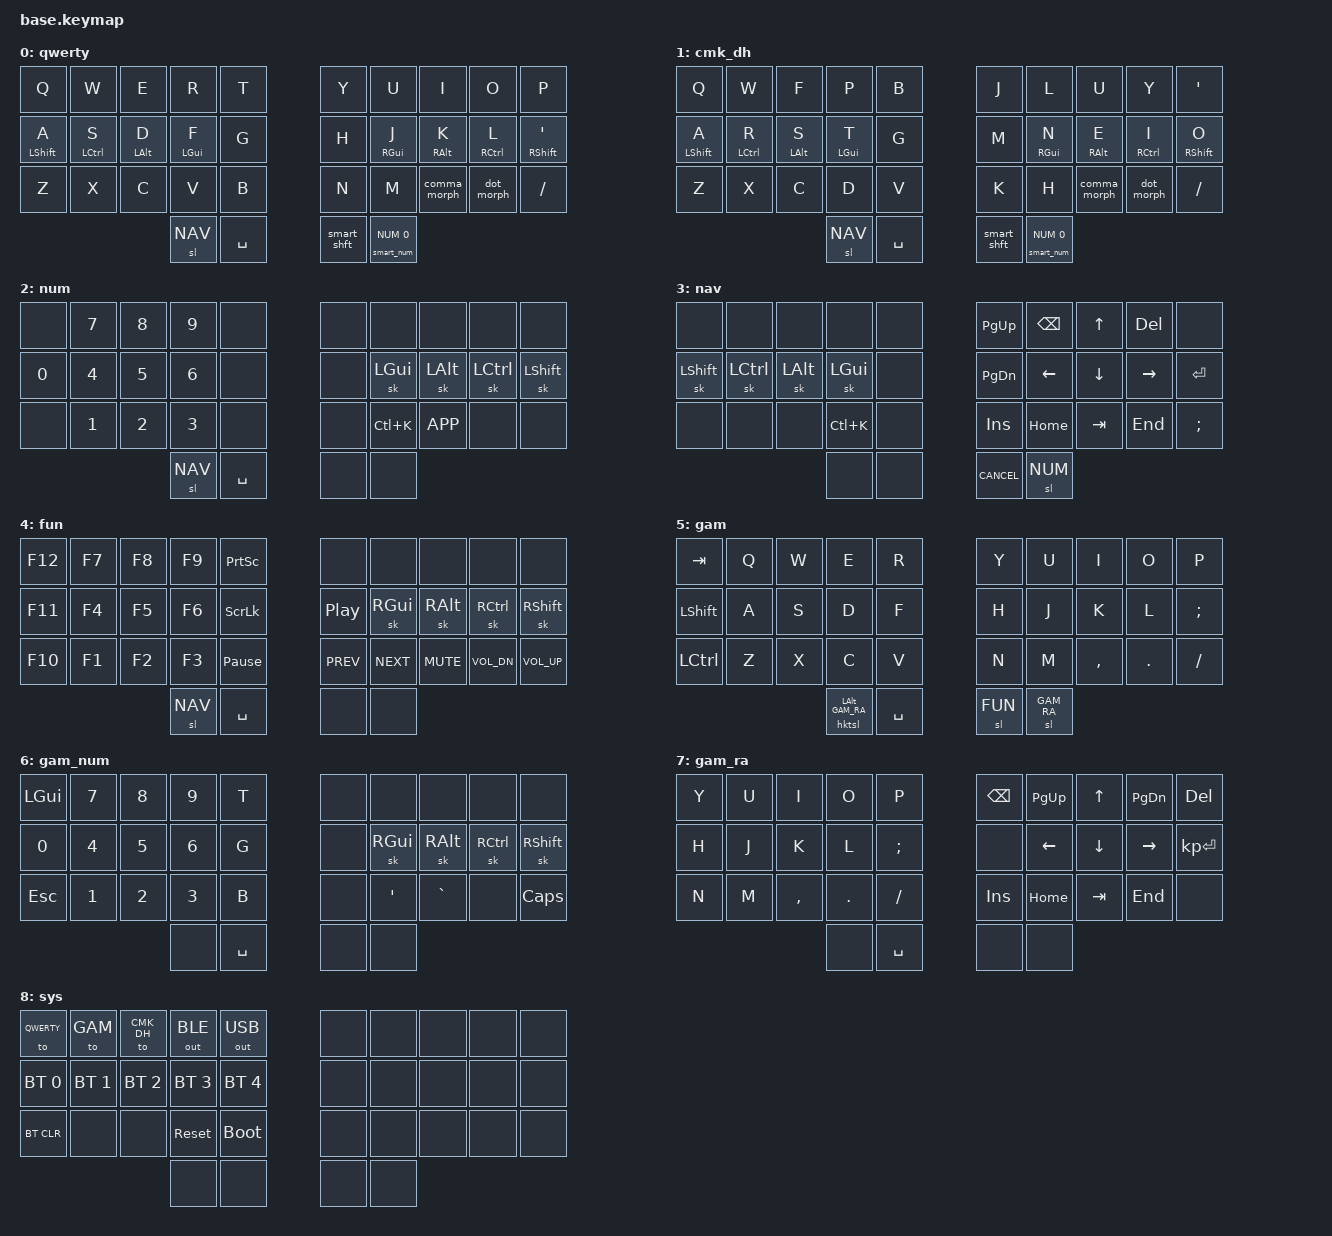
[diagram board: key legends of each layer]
#include <behaviors.dtsi>
#include <behaviors/num_word.dtsi> // Requires zmk-auto-layer module.
#include <behaviors/unicode.dtsi> // Requires zmk-unicode module.
#include <zmk-helpers/helper.h> // Requires zmk-helpers module.
#include <dt-bindings/zmk/keys.h>
#ifdef CONFIG_WIRELESS
  #include <dt-bindings/zmk/bt.h>
  #include <dt-bindings/zmk/outputs.h>
  #define _BT_SEL_KEYS_                                                        \
      &bt BT_SEL 0 &bt BT_SEL 1 &bt BT_SEL 2 &bt BT_SEL 3 &bt BT_CLR
#else
  #define _BT_SEL_KEYS_ &none &none &none &none &none
#endif

// Layers
// MAIN
#define QWERTY 0
#define CMK_DH 1
#define NUM 2
#define NAV 3
#define FUN 4

// GAMING
#define GAM 5
#define GAM_NUM 6
#define GAM_RA 7

// UTILITIES (highest so it overlays everything)
#define SYS 8

#define XXX &none
#define ___ &trans

/* Global defaults */

#define QUICK_TAP_MS 175

&sk {
    release-after-ms = <250>; // Needs to be long enough for one handed modifiers. Short enough to allow mouse zooming and mitigage alt tab conflicts.
    quick-release;
};

// Important because errors without sticky layer are punishing and cause unconfident typing. e.g. a fast layer + enter roll
&sl {
    release-after-ms = <250>; // Can be shorter than &sk.
    // TODO: need to remove following?
    ignore-modifiers;          // allow chording sticky mods & layers
};

&lt {
  flavor = "balanced";
  tapping-term-ms = <200>;
  quick-tap-ms = <QUICK_TAP_MS>;
};

/* Homerow mods */

#define KEYS_L LT0 LT1 LT2 LT3 LT4 LM0 LM1 LM2 LM3 LM4 LB0 LB1 LB2 LB3 LB4
#define KEYS_R RT0 RT1 RT2 RT3 RT4 RM0 RM1 RM2 RM3 RM4 RB0 RB1 RB2 RB3 RB4
#ifndef LH2
  #define THUMBS LH1 LH0 RH0 RH1         // Thumbs on 34 keys.
#else
  #define THUMBS LH2 LH1 LH0 RH0 RH1 RH2 // Thumbs on 36+ keys.
#endif

// Personal includes (must be after used definitions)
#include "includes/combos_main.dtsi"   // main typing layers combos
#include "includes/combos_gaming.dtsi" // gaming layer combos

#define MAKE_HRM(NAME, HOLD, TAP, TRIGGER_POS)                                 \
  ZMK_HOLD_TAP(NAME, bindings = <HOLD>, <TAP>; flavor = "balanced";            \
               tapping-term-ms = <280>; quick-tap-ms = <QUICK_TAP_MS>;         \
               require-prior-idle-ms = <150>; hold-trigger-on-release;         \
               hold-trigger-key-positions = <TRIGGER_POS>;)

MAKE_HRM(hml, &kp, &kp, KEYS_R THUMBS) // Left-hand HRMs.
MAKE_HRM(hmr, &kp, &kp, KEYS_L THUMBS) // Right-hand HRMs.

// Shift alone gives typing punctuation. Shortcut modifiers bypass the morph
// and preserve the ordinary comma/dot keycode, including any held Shift.
#define PUNCT_SHORTCUT_MODS (MOD_LCTL|MOD_RCTL|MOD_LALT|MOD_RALT|MOD_LGUI|MOD_RGUI)

ZMK_BEHAVIOR(comma_shift, mod_morph,
    mods = <(MOD_LSFT|MOD_RSFT)>;
    bindings = <&kp COMMA>, <&kp SEMICOLON>;
)

ZMK_BEHAVIOR(dot_shift, mod_morph,
    bindings = <&kp DOT>, <&kp COLON>;
    mods = <(MOD_LSFT|MOD_RSFT)>;
)

ZMK_BEHAVIOR(comma_morph, mod_morph,
    bindings = <&comma_shift>, <&kp COMMA>;
    mods = <PUNCT_SHORTCUT_MODS>;
    keep-mods = <PUNCT_SHORTCUT_MODS>;
)

ZMK_BEHAVIOR(dot_morph, mod_morph,
    bindings = <&dot_shift>, <&kp DOT>;
    mods = <PUNCT_SHORTCUT_MODS>;
    keep-mods = <PUNCT_SHORTCUT_MODS>;
)

/* Caps-word, num-word and smart-mouse */

// tap: sticky-shift | shift + tap/ double-tap: caps-word | hold: shift
ZMK_BEHAVIOR(smart_shft, mod_morph,
    bindings = <&sk LSHFT>, <&caps_word>;
    mods = <(MOD_LSFT)>;
)

&caps_word {  // mods deactivate caps-word, requires PR #1441
    /delete-property/ ignore-modifiers;
};

// Tap: num-word | double-tap: sticky num-layer | Hold: num-layer.
#define SMART_NUM &smart_num NUM 0
ZMK_HOLD_TAP(smart_num,
    bindings = <&mo>, <&num_dance>;
    flavor = "balanced";
    tapping-term-ms = <200>;
    quick-tap-ms = <QUICK_TAP_MS>;
)
ZMK_TAP_DANCE(num_dance,
    bindings = <&num_word NUM>, <&sl NUM>;
    // reverse this for sticky-num on single tap
    tapping-term-ms = <200>;
)

// // TODO: maybe add semi colon to continue list.
// &num_word {
//     continue-list = <BSPC DEL DOT COMMA PLUS MINUS STAR FSLH EQUAL LSHIFT COLON>;
// };

// // This is ambiguous because it gits rid of the benefit of a quick roll with sticky key and enter. It can accidentily produce a letter.
// ZMK_HOLD_TAP(hsltk,
//     bindings = <&sl>, <&kp>;
//     flavor = "hold-preferred";
//     tapping-term-ms = <150>;
// )

// used for gaming alt key; unusable if using modtap number keys and function keys for dyson sphere project
// maybe not unstable because it is decided on the first key 
ZMK_HOLD_TAP(hktsl,
    bindings = <&kp>, <&sl>;
    flavor = "tap-preferred";
    tapping-term-ms = <200>;
)

// ZMK_TAP_DANCE(td_nav_esc,
//     bindings = <&sl NAV>, <&kp ESC>;
//     tapping-term-ms = <200>;
// )

#ifndef ZMK_BASE_LAYER
  #define ZMK_BASE_LAYER(name, LT, RT, LM, RM, LB, RB, LH, RH)                 \
      ZMK_LAYER(name, LT RT LM RM LB RB LH RH)
#endif
// Plain semicolon on NAV supports shortcuts independently of punctuation morphs.
ZMK_LAYER(qwerty,
    &kp Q              &kp W              &kp E              &kp R              &kp T              &kp Y              &kp U              &kp I              &kp O              &kp P
    &hml LSHFT A       &hml LCTRL S       &hml LALT D        &hml LGUI F        &kp G              &kp H              &hmr RGUI J        &hmr RALT K        &hmr RCTRL L       &hmr RSHFT SQT
    &kp Z              &kp X              &kp C              &kp V              &kp B              &kp N              &kp M              &comma_morph       &dot_morph         &kp SLASH
                                                             &sl NAV            &kp SPACE          &smart_shft        SMART_NUM
)

ZMK_LAYER(cmk_dh,
    &kp Q              &kp W              &kp F              &kp P              &kp B              &kp J              &kp L              &kp U              &kp Y              &kp SQT
    &hml LSHFT A       &hml LCTRL R       &hml LALT S        &hml LGUI T        &kp G              &kp M              &hmr RGUI N        &hmr RALT E        &hmr RCTRL I       &hmr RSHFT O
    &kp Z              &kp X              &kp C              &kp D              &kp V              &kp K              &kp H              &comma_morph       &dot_morph         &kp SLASH
                                                             &sl NAV            &kp SPACE          &smart_shft        SMART_NUM
)
  
ZMK_LAYER(num,
    &none              &kp N7             &kp N8             &kp N9             &none              &none              &none              &none              &none              &none
    &kp  N0            &kp N4             &kp N5             &kp N6             &none              &none              &sk LGUI           &sk LALT           &sk LCTRL          &sk LSHFT
    &none              &kp N1             &kp N2             &kp N3             &none              &none              &kp LC(K)          &kp K_APP          &none              &none
                                                             &sl NAV            &kp SPACE          &none              &none
)
ZMK_LAYER(nav,
    &none              &none              &none              &none              &none              &kp PG_UP          &kp BSPC           &kp UP             &kp DEL            &none
    &sk LSHFT          &sk LCTRL          &sk LALT           &sk LGUI           &none              &kp PG_DN          &kp LEFT           &kp DOWN           &kp RIGHT          &kp RET
    &none              &none              &none              &kp LC(K)          &none              &kp INSERT         &kp HOME           &kp TAB            &kp END            &kp SEMI
                                                             &none              &none              &kp K_CANCEL       &sl NUM
)
ZMK_LAYER(fun,
    &kp F12            &kp F7             &kp F8             &kp F9             &kp PSCRN          &none              &none              &none              &none              &none
    &kp F11            &kp F4             &kp F5             &kp F6             &kp SLCK           &kp C_PP           &sk RGUI           &sk RALT           &sk RCTRL          &sk RSHFT
    &kp F10            &kp F1             &kp F2             &kp F3             &kp PAUSE_BREAK    &kp C_PREV         &kp C_NEXT         &kp C_MUTE         &kp C_VOL_DN       &kp C_VOL_UP
                                                             &sl NAV            &kp SPACE          &none              &none
)
// T G B are horizontal combos in last column. How to incorporate function keys in number layer? 6x3 board would be nice with an isolated alt key and isoltaed gaming number layer.
// TODO: hide the alt key under the gaming alpha layer so it can be held while gaming.
// TODO: find a place for gaming functions when needed. must be fluid. maybe a combo on the thumb. can go 15 functions that way.
ZMK_LAYER(gam,
    &kp TAB            &kp Q              &kp W              &kp E              &kp R              &kp Y              &kp U              &kp I              &kp O              &kp P
    &kp LSHIFT         &kp A              &kp S              &kp D              &kp F              &kp H              &kp J              &kp K              &kp L              &kp SEMI
    &kp LCTRL          &kp Z              &kp X              &kp C              &kp V              &kp N              &kp M              &kp CMMA           &kp DOT            &kp SLASH
                                                             &hktsl LALT GAM_RA &kp SPACE          &sl FUN            &sl GAM_RA
)
ZMK_LAYER(gam_num,
    &kp LGUI           &kp N7             &kp N8             &kp N9             &kp T              &none              &none              &none              &none              &none
    &kp N0             &kp N4             &kp N5             &kp N6             &kp G              &none              &sk RGUI           &sk RALT           &sk RCTRL          &sk RSHFT
    &kp ESC            &kp N1             &kp N2             &kp N3             &kp B              &none              &kp APOS           &kp GRAVE          &none              &kp CAPS
                                                             &none              &kp SPACE          &none              &none
)
ZMK_LAYER(gam_ra,
    &kp Y              &kp U              &kp I              &kp O              &kp P              &kp BSPC           &kp PG_UP          &kp UP             &kp PG_DN          &kp DEL
    &kp H              &kp J              &kp K              &kp L              &kp SEMI           &none              &kp LEFT           &kp DOWN           &kp RIGHT          &kp KP_ENTER
    &kp N              &kp M              &kp CMMA           &kp DOT            &kp SLASH          &kp INSERT         &kp HOME           &kp TAB            &kp END            &none
                                                             &none              &kp SPACE          &none              &none
)
ZMK_LAYER(sys,
    &to QWERTY         &to GAM            &to CMK_DH         &out OUT_BLE       &out OUT_USB       &none              &none              &none              &none              &none
    &bt BT_SEL 0       &bt BT_SEL 1       &bt BT_SEL 2       &bt BT_SEL 3       &bt BT_SEL 4       &none              &none              &none              &none              &none
    &bt BT_CLR         &none              &none              &sys_reset         &bootloader        &none              &none              &none              &none              &none
                                                             &none              &none              &none              &none
)
